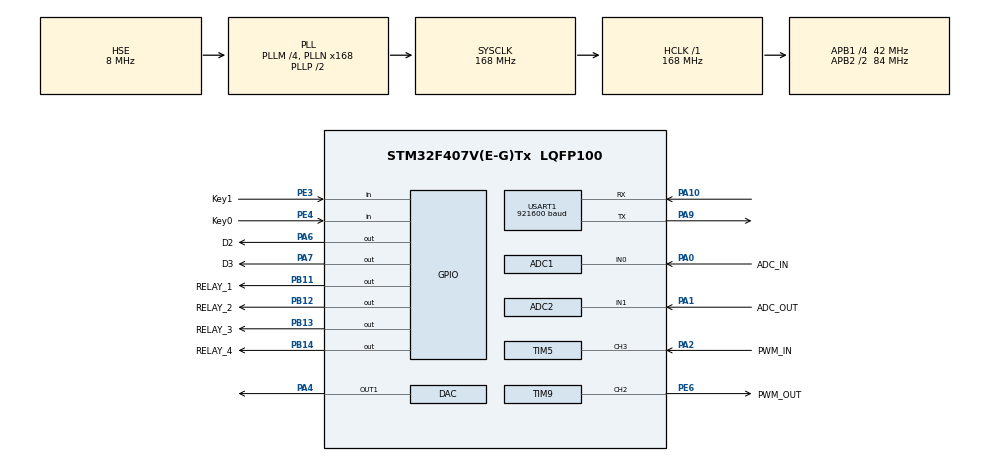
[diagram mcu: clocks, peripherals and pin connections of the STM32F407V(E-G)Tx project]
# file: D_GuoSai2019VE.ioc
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ADC1.Channel-1\#ChannelRegularConversion=ADC_CHANNEL_0
ADC1.ContinuousConvMode=DISABLE
ADC1.DMAContinuousRequests=ENABLE
ADC1.DiscontinuousConvMode=ENABLE
ADC1.EOCSelection=ADC_EOC_SEQ_CONV
ADC1.ExternalTrigConv=ADC_EXTERNALTRIGCONV_T3_TRGO
ADC1.Mode=__NULL
ADC1.NbrOfConversion=1
ADC1.NbrOfConversionFlag=1
ADC1.Rank-1\#ChannelRegularConversion=1
ADC1.SamplingTime-1\#ChannelRegularConversion=ADC_SAMPLETIME_3CYCLES
ADC1.ScanConvMode=ENABLE
ADC1.master=1
ADC2.Channel-3\#ChannelRegularConversion=ADC_CHANNEL_1
ADC2.ContinuousConvMode=DISABLE
ADC2.DMAContinuousRequests=ENABLE
ADC2.DiscontinuousConvMode=ENABLE
ADC2.ExternalTrigConv=ADC_EXTERNALTRIGCONV_T3_TRGO
ADC2.NbrOfConversionFlag=1
ADC2.Rank-3\#ChannelRegularConversion=1
ADC2.SamplingTime-3\#ChannelRegularConversion=ADC_SAMPLETIME_3CYCLES
ADC2.ScanConvMode=ENABLE
DAC.DAC_OutputBuffer=DAC_OUTPUTBUFFER_DISABLE
DAC.DAC_Trigger=DAC_TRIGGER_T4_TRGO
Dma.ADC1.0.Direction=DMA_PERIPH_TO_MEMORY
Dma.ADC1.0.FIFOMode=DMA_FIFOMODE_ENABLE
Dma.ADC1.0.FIFOThreshold=DMA_FIFO_THRESHOLD_FULL
Dma.ADC1.0.Instance=DMA2_Stream0
Dma.ADC1.0.MemBurst=DMA_MBURST_SINGLE
Dma.ADC1.0.MemDataAlignment=DMA_MDATAALIGN_HALFWORD
Dma.ADC1.0.MemInc=DMA_MINC_ENABLE
Dma.ADC1.0.Mode=DMA_NORMAL
Dma.ADC1.0.PeriphBurst=DMA_PBURST_SINGLE
Dma.ADC1.0.PeriphDataAlignment=DMA_PDATAALIGN_HALFWORD
Dma.ADC1.0.PeriphInc=DMA_PINC_DISABLE
Dma.ADC1.0.Priority=DMA_PRIORITY_HIGH
Dma.ADC2.3.Direction=DMA_PERIPH_TO_MEMORY
Dma.ADC2.3.FIFOMode=DMA_FIFOMODE_ENABLE
Dma.ADC2.3.FIFOThreshold=DMA_FIFO_THRESHOLD_FULL
Dma.ADC2.3.Instance=DMA2_Stream2
Dma.ADC2.3.MemBurst=DMA_MBURST_SINGLE
Dma.ADC2.3.MemDataAlignment=DMA_MDATAALIGN_HALFWORD
Dma.ADC2.3.MemInc=DMA_MINC_ENABLE
Dma.ADC2.3.Mode=DMA_NORMAL
Dma.ADC2.3.PeriphBurst=DMA_PBURST_SINGLE
Dma.ADC2.3.PeriphDataAlignment=DMA_PDATAALIGN_HALFWORD
Dma.ADC2.3.PeriphInc=DMA_PINC_DISABLE
Dma.ADC2.3.Priority=DMA_PRIORITY_HIGH
Dma.DAC1.1.Direction=DMA_MEMORY_TO_PERIPH
Dma.DAC1.1.FIFOMode=DMA_FIFOMODE_ENABLE
Dma.DAC1.1.FIFOThreshold=DMA_FIFO_THRESHOLD_FULL
Dma.DAC1.1.Instance=DMA1_Stream5
Dma.DAC1.1.MemBurst=DMA_MBURST_SINGLE
Dma.DAC1.1.MemDataAlignment=DMA_MDATAALIGN_HALFWORD
Dma.DAC1.1.MemInc=DMA_MINC_ENABLE
Dma.DAC1.1.Mode=DMA_CIRCULAR
Dma.DAC1.1.PeriphBurst=DMA_PBURST_SINGLE
Dma.DAC1.1.PeriphDataAlignment=DMA_PDATAALIGN_HALFWORD
Dma.DAC1.1.PeriphInc=DMA_PINC_DISABLE
Dma.DAC1.1.Priority=DMA_PRIORITY_HIGH
Dma.Request0=ADC1
Dma.Request1=DAC1
Dma.Request2=USART1_RX
Dma.Request3=ADC2
Dma.USART1_RX.2.Direction=DMA_PERIPH_TO_MEMORY
Dma.USART1_RX.2.FIFOMode=DMA_FIFOMODE_DISABLE
Dma.USART1_RX.2.Instance=DMA2_Stream5
Dma.USART1_RX.2.MemDataAlignment=DMA_MDATAALIGN_BYTE
Dma.USART1_RX.2.MemInc=DMA_MINC_ENABLE
Dma.USART1_RX.2.Mode=DMA_NORMAL
Dma.USART1_RX.2.PeriphDataAlignment=DMA_PDATAALIGN_BYTE
Dma.USART1_RX.2.PeriphInc=DMA_PINC_DISABLE
Dma.USART1_RX.2.Priority=DMA_PRIORITY_MEDIUM
Mcu.Family=STM32F4
Mcu.Name=STM32F407V(E-G)Tx
Mcu.Package=LQFP100
NVIC.ADC_IRQn=true\:1\:0\:true\:false\:true\:true\:true
NVIC.DMA1_Stream5_IRQn=true\:0\:0\:false\:false\:true\:false\:true
NVIC.DMA2_Stream0_IRQn=true\:0\:0\:false\:false\:true\:false\:true
NVIC.DMA2_Stream2_IRQn=true\:0\:0\:false\:false\:true\:false\:true
NVIC.DMA2_Stream5_IRQn=true\:0\:0\:false\:false\:true\:false\:true
NVIC.PriorityGroup=NVIC_PRIORITYGROUP_4
NVIC.TIM5_IRQn=true\:1\:0\:true\:false\:true\:true\:true
NVIC.USART1_IRQn=true\:0\:0\:true\:false\:true\:true\:true
PA0-WKUP.GPIO_Label=ADC_IN
PA0-WKUP.Signal=ADCx_IN0
PA1.GPIO_Label=ADC_OUT
PA1.Signal=ADCx_IN1
PA10.Mode=Asynchronous
PA10.Signal=USART1_RX
PA13.Mode=Serial_Wire
PA13.Signal=SYS_JTMS-SWDIO
PA14.Mode=Serial_Wire
PA14.Signal=SYS_JTCK-SWCLK
PA2.GPIO_Label=PWM_IN
PA2.GPIO_ModeDefaultPP=GPIO_MODE_AF_OD
PA2.GPIO_Speed=GPIO_SPEED_FREQ_VERY_HIGH
PA2.Signal=S_TIM5_CH3
PA4.Signal=COMP_DAC1_group
PA6.GPIO_Label=D2
PA6.PinState=GPIO_PIN_SET
PA6.Signal=GPIO_Output
PA7.GPIO_Label=D3
PA7.PinState=GPIO_PIN_SET
PA7.Signal=GPIO_Output
PA9.Mode=Asynchronous
PA9.Signal=USART1_TX
PB11.GPIO_Label=RELAY_1
PB11.GPIO_ModeDefaultOutputPP=GPIO_MODE_OUTPUT_PP
PB11.GPIO_PuPd=GPIO_NOPULL
PB11.GPIO_Speed=GPIO_SPEED_FREQ_MEDIUM
PB11.PinState=GPIO_PIN_RESET
PB11.Signal=GPIO_Output
PB12.GPIO_Label=RELAY_2
PB12.GPIO_ModeDefaultOutputPP=GPIO_MODE_OUTPUT_PP
PB12.GPIO_Speed=GPIO_SPEED_FREQ_MEDIUM
PB12.PinState=GPIO_PIN_RESET
PB12.Signal=GPIO_Output
PB13.GPIO_Label=RELAY_3
PB13.GPIO_ModeDefaultOutputPP=GPIO_MODE_OUTPUT_PP
PB13.GPIO_Speed=GPIO_SPEED_FREQ_MEDIUM
PB13.PinState=GPIO_PIN_RESET
PB13.Signal=GPIO_Output
PB14.GPIO_Label=RELAY_4
PB14.GPIO_ModeDefaultOutputPP=GPIO_MODE_OUTPUT_PP
PB14.GPIO_Speed=GPIO_SPEED_FREQ_MEDIUM
PB14.PinState=GPIO_PIN_RESET
PB14.Signal=GPIO_Output
PE3.GPIO_Label=Key1
PE3.GPIO_PuPd=GPIO_PULLUP
PE3.Signal=GPIO_Input
PE4.GPIO_Label=Key0
PE4.GPIO_PuPd=GPIO_PULLUP
PE4.Signal=GPIO_Input
PE6.GPIO_Label=PWM_OUT
PE6.GPIO_Speed=GPIO_SPEED_FREQ_VERY_HIGH
PE6.Signal=S_TIM9_CH2
PH0-OSC_IN.Mode=HSE-External-Oscillator
PH0-OSC_IN.Signal=RCC_OSC_IN
PH1-OSC_OUT.Mode=HSE-External-Oscillator
PH1-OSC_OUT.Signal=RCC_OSC_OUT
ProjectManager.HeapSize=0x200
ProjectManager.StackSize=0x400
ProjectManager.TargetToolchain=MDK-ARM V5
RCC.48MHZClocksFreq_Value=84000000
RCC.AHBFreq_Value=168000000
RCC.APB1CLKDivider=RCC_HCLK_DIV4
RCC.APB1Freq_Value=42000000
RCC.APB1TimFreq_Value=84000000
RCC.APB2CLKDivider=RCC_HCLK_DIV2
RCC.APB2Freq_Value=84000000
RCC.APB2TimFreq_Value=168000000
RCC.CortexFreq_Value=168000000
RCC.HCLKFreq_Value=168000000
RCC.HSE_VALUE=8000000
RCC.HSI_VALUE=16000000
RCC.LSE_VALUE=32768
RCC.PLLM=4
RCC.PLLN=168
RCC.PLLSourceVirtual=RCC_PLLSOURCE_HSE
RCC.SYSCLKFreq_VALUE=168000000
RCC.SYSCLKSource=RCC_SYSCLKSOURCE_PLLCLK
RCC.VCOOutputFreq_Value=336000000
SH.ADCx_IN0.0=ADC1_IN0,IN0
SH.ADCx_IN1.0=ADC2_IN1,IN1
SH.COMP_DAC1_group.0=DAC_OUT1,DAC_OUT1
SH.S_TIM5_CH3.0=TIM5_CH3,Input_Capture3_from_TI3
SH.S_TIM9_CH2.0=TIM9_CH2,PWM Generation2 CH2
TIM3.Channel-PWM\ Generation1\ No\ Output=TIM_CHANNEL_1
TIM3.Period=4096
TIM3.TIM_MasterOutputTrigger=TIM_TRGO_UPDATE
TIM3.TIM_MasterSlaveMode=TIM_MASTERSLAVEMODE_ENABLE
TIM4.Period=11
TIM4.TIM_MasterOutputTrigger=TIM_TRGO_UPDATE
TIM5.Channel-Input_Capture3_from_TI3=TIM_CHANNEL_3
TIM5.ICFilter_CH3=4
TIM5.ICPolarity_CH3=TIM_INPUTCHANNELPOLARITY_BOTHEDGE
TIM5.Period=84000000-1
TIM9.Channel-PWM\ Generation2\ CH2=TIM_CHANNEL_2
TIM9.Period=2-1
TIM9.Prescaler=168-1
TIM9.Pulse-PWM\ Generation2\ CH2=1
USART1.BaudRate=921600
USART1.VirtualMode=VM_ASYNC
VP_TIM3_VS_ClockSourceITR.Mode=TriggerSource_ITR3
VP_TIM3_VS_ControllerModeTrigger.Mode=Trigger Mode
VP_TIM3_VS_no_output1.Mode=PWM Generation1 No Output
VP_TIM4_VS_ClockSourceINT.Mode=Internal
board=custom

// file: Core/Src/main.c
/* USER CODE BEGIN Header */
/**
  ******************************************************************************
  * @file           : main.c
  * @brief          : Main program body
  ******************************************************************************
  * @attention
  *
  * <h2><center>&copy; Copyright (c) 2019 STMicroelectronics.
  * All rights reserved.</center></h2>
  *
  * This software component is licensed by ST under BSD 3-Clause license,
  * the "License"; You may not use this file except in compliance with the
  * License. You may obtain a copy of the License at:
  *                        opensource.org/licenses/BSD-3-Clause
  *
  ******************************************************************************
  */
/* USER CODE END Header */

#include "main.h"
#include "adc.h"
#include "dac.h"
#include "dma.h"
#include "tim.h"
#include "usart.h"
#include "gpio.h"

/* USER CODE BEGIN Includes */
#include "dwt_stm32_delay.h"
#include "adc_analyse.h"
#include "cmd.h"
/* USER CODE END Includes */

/* USER CODE BEGIN PD */

/* Test 部分 */

int16_t test = 0;

/* USER CODE END PD */

void SystemClock_Config(void);

int main(void)
{
  /* USER CODE BEGIN 1 */
	uint32_t cmdtick,testtick;
	uint32_t DAC_FreqSet_o;
	uint32_t DAC_P_VolSet_o;

	uint32_t PWM_OUT_Set_o;

	uint32_t ADC_FreqSet_o;
	/* 设置初值 */

	DAC_FreqSet = 100;
	DAC_P_VolSet = 25;
	DAC_P_VolSet_o = 0;
	DAC_FreqSet_o = 0;
	ADC_FreqSet_o = 0;
  /* USER CODE END 1 */

  /* MCU Configuration--------------------------------------------------------*/

  /* Reset of all peripherals, Initializes the Flash interface and the Systick. */
  HAL_Init();

  /* USER CODE BEGIN Init */
	/* STM32F405x/407x/415x/417x Revision Z devices: prefetch is supported 开启Flash预取？？ */
  if (HAL_GetREVID() == 0x1001)
  {
    /* Enable the Flash prefetch */
    __HAL_FLASH_PREFETCH_BUFFER_ENABLE();
  }
  if(DWT_Delay_Init())
  {
    Error_Handler(); /* Call Error Handler */
  }
  /* USER CODE END Init */

  /* Configure the system clock */
  SystemClock_Config();

  /* USER CODE BEGIN SysInit */

  /* TIM3 为 TIM4 的从定时器 */

  /* USER CODE END SysInit */

  /* Initialize all configured peripherals */
  MX_GPIO_Init();
  MX_DMA_Init();
  MX_ADC1_Init();
  MX_ADC2_Init();
  MX_DAC_Init();
  MX_TIM4_Init();
  MX_TIM5_Init();
  MX_TIM9_Init();
  MX_USART1_UART_Init();
  MX_TIM3_Init();
  /* USER CODE BEGIN 2 */

  SWITCH_Set(1,0); // 断开1号继电器
  SWITCH_Set(2,0); // 断开2号继电器
  SWITCH_Set(3,0); // 断开3号继电器
  SWITCH_Set(4,0); // 断开4号继电器
  //SWITCH_Set(2,1); // 合上2号继电器
  HAL_Delay(200);
  TIM_Start_IC_Capture();
  TIM_Start_PWM();
  DualADC_Start();
  cmd_init();
  cmdtick = HAL_GetTick();
  testtick = cmdtick;
  /* USER CODE END 2 */

  /* Infinite loop */
  while (1)
  {

    /* USER CODE BEGIN 3 */

	 ADC_Analysis();
	if((DAC_FreqSet != DAC_FreqSet_o) || (DAC_P_VolSet_o != DAC_P_VolSet))
	{
		DAC_FreqSet_o = DAC_FreqSet;
		DAC_P_VolSet_o = DAC_P_VolSet;
		if(DAC_FreqSet > 20000 ) DAC_FreqSet = 20000;
		SetSINFreq(KHz(DAC_FreqSet),DAC_P_VolSet);
	}
	if(PWM_OUT_Set != PWM_OUT_Set_o)
	{
		PWM_OUT_Set_o = PWM_OUT_Set;
		TIM_PWM_OUT_Set(PWM_OUT_Set);
	}

	if(ADC_FreqSet != ADC_FreqSet_o)
	{
		ADC_FreqSet_o = ADC_FreqSet;
		ADC_SetFreq(ADC_FreqSet);
	}

	SWITCH_Set(SwID,Open);

	if((HAL_GetTick() - cmdtick) >= 10) // 10ms
	{
		cmdtick = HAL_GetTick();

	   cmd_run();
	}
//	if((HAL_GetTick() - testtick) >= 100) // 100ms
//	{
//		testtick = HAL_GetTick();
//		//test++;
//		SendCmd(Send_XY,(test<<16)|1);
//	}
	//HAL_GPIO_TogglePin(D2_GPIO_Port,D2_Pin);
	//HAL_GPIO_TogglePin(D3_GPIO_Port,D3_Pin);
	//HAL_Delay(100);
  }
  /* USER CODE END 3 */
}

void SystemClock_Config(void)
{
  RCC_OscInitTypeDef RCC_OscInitStruct = {0};
  RCC_ClkInitTypeDef RCC_ClkInitStruct = {0};

  /** Configure the main internal regulator output voltage
  */
  __HAL_RCC_PWR_CLK_ENABLE();
  __HAL_PWR_VOLTAGESCALING_CONFIG(PWR_REGULATOR_VOLTAGE_SCALE1);
  /** Initializes the CPU, AHB and APB busses clocks
  */
  RCC_OscInitStruct.OscillatorType = RCC_OSCILLATORTYPE_HSE;
  RCC_OscInitStruct.HSEState = RCC_HSE_ON;
  RCC_OscInitStruct.PLL.PLLState = RCC_PLL_ON;
  RCC_OscInitStruct.PLL.PLLSource = RCC_PLLSOURCE_HSE;
  RCC_OscInitStruct.PLL.PLLM = 4;
  RCC_OscInitStruct.PLL.PLLN = 168;
  RCC_OscInitStruct.PLL.PLLP = RCC_PLLP_DIV2;
  RCC_OscInitStruct.PLL.PLLQ = 4;
  if (HAL_RCC_OscConfig(&RCC_OscInitStruct) != HAL_OK)
  {
    Error_Handler();
  }
  /** Initializes the CPU, AHB and APB busses clocks
  */
  RCC_ClkInitStruct.ClockType = RCC_CLOCKTYPE_HCLK|RCC_CLOCKTYPE_SYSCLK
                              |RCC_CLOCKTYPE_PCLK1|RCC_CLOCKTYPE_PCLK2;
  RCC_ClkInitStruct.SYSCLKSource = RCC_SYSCLKSOURCE_PLLCLK;
  RCC_ClkInitStruct.AHBCLKDivider = RCC_SYSCLK_DIV1;
  RCC_ClkInitStruct.APB1CLKDivider = RCC_HCLK_DIV4;
  RCC_ClkInitStruct.APB2CLKDivider = RCC_HCLK_DIV2;

  if (HAL_RCC_ClockConfig(&RCC_ClkInitStruct, FLASH_LATENCY_5) != HAL_OK)
  {
    Error_Handler();
  }
}

void Error_Handler(void)
{
}

/************************ (C) COPYRIGHT STMicroelectronics *****END OF FILE****/
